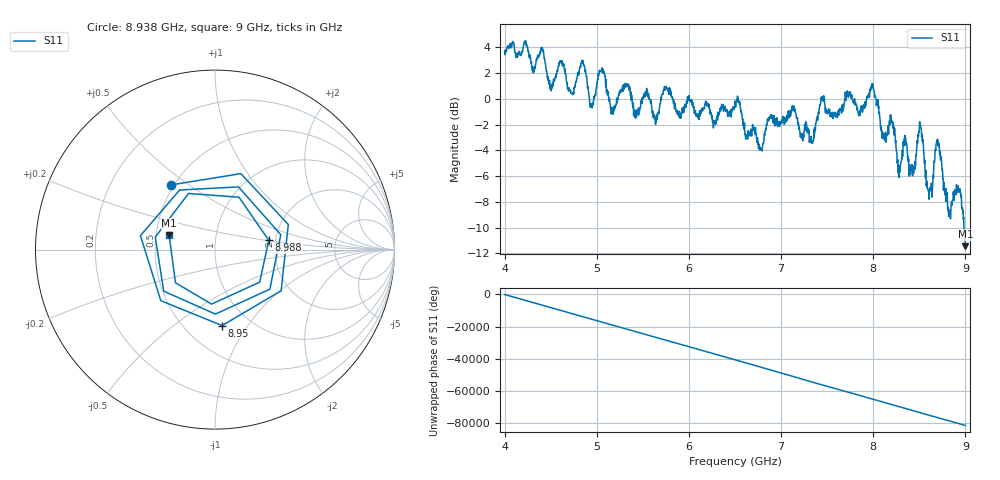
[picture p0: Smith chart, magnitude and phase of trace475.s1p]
! Created with skrf 1.8.0 (http://scikit-rf.org).
# Hz S RI R 50.0
!freq ReS11 ImS11
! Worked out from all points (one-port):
!   1601 points, 4 GHz to 9 GHz, reference 50 ohm
!   lowest |S11| = -11.4 dB at 9 GHz (marker M1), VSWR 1.73, Z = 29.3 + j5.01 ohm
!   |S11| at or under -10 dB: 8.985116 GHz to end of sweep
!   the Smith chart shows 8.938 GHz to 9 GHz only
!   S11 on the Smith chart (normalised r, x): 8.938 GHz: 0.48, +0.43; 8.95 GHz: 0.74, -0.77; 8.988 GHz: 1.84, +0.21; 9 GHz: 0.59, +0.10
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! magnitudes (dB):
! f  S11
! 4 GHz  3.7
! 4.403 GHz  3.9
! 4.503 GHz  0.7
! 4.625 GHz  2.7
! 4.725 GHz  0.4
! 4.853 GHz  2.7
! 4.944 GHz  -0.5
! 5.047 GHz  2.2
! 5.172 GHz  -1.1
! 5.25 GHz  0.6
! 5.875 GHz  -1.2
! 6.5 GHz  -0.2
! 6.778 GHz  -3.8
! 7.125 GHz  -0.8
! 7.331 GHz  -3.2
! 7.444 GHz  0.2
! 7.75 GHz  0.4
! 7.988 GHz  1.2
! 8.281 GHz  -5.2
! 8.375 GHz  -4.7
! 8.512 GHz  -2.0
! 8.6 GHz  -7.2
! 8.697 GHz  -3.1
! 8.819 GHz  -9.1
! 8.938 GHz  -7.2
! 8.95 GHz  -7.4
! 8.988 GHz  -10.3
! 9 GHz  -11.4
